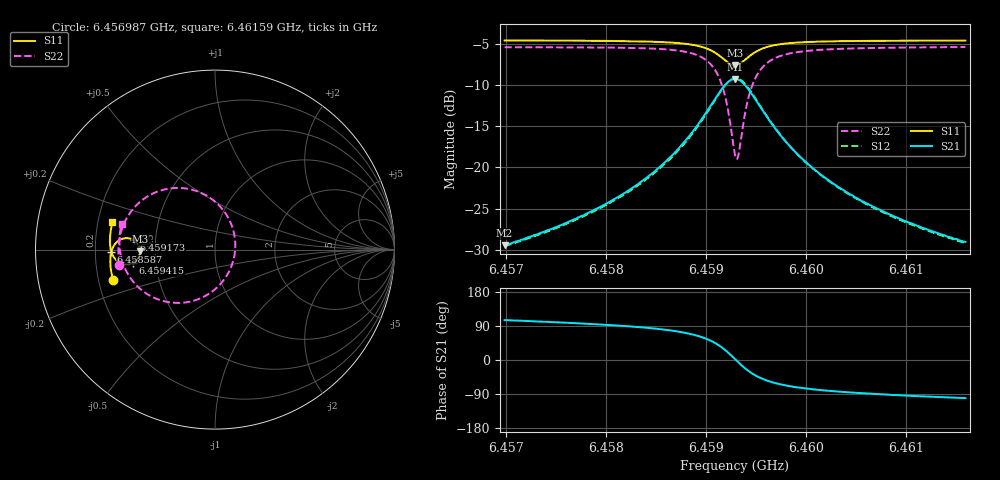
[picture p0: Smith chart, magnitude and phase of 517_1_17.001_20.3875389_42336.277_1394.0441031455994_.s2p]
#  HZ  S  RI  R  50.00
! Rohde & Schwarz Vector Network Analyzer
! Rohde-Schwarz,ZNB20-2Port,1311601062101988,3.16
! Created: UTC 3/20/2024, 11:15:14 PM
! freq[Hz]  re:S11  im:S11  re:S21  im:S21  re:S12  im:S12  re:S22  im:S22
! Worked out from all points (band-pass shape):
!   401 points, 6.456987 GHz to 6.46159 GHz, reference 50 ohm
!   highest |S21| = -9.23 dB at 6.459288 GHz (marker M1); lowest = -29.5 dB at 6.456987 GHz (marker M2)
!   |S21| within 3 dB of the highest: 6.459058 GHz to 6.459519 GHz (460.3 kHz wide, 0.00713 % of centre)
!   lowest |S11| = -7.6 dB at 6.459288 GHz (marker M3), VSWR 2.44, Z = 20.5 - j0.474 ohm
!   |S11| at or under -10 dB: nowhere
!   |S22| runs from -19.0 to -5.3 dB; largest |S21 - S12| = 0.014
!   S11 on the Smith chart (normalised r, x): 6.456987 GHz: 0.26, -0.14; 6.458587 GHz: 0.27, -0.01; 6.459173 GHz: 0.37, +0.05; 6.459415 GHz: 0.37, -0.07; 6.46159 GHz: 0.26, +0.12
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6.4569871e9  -0.5669 -0.1715  -0.0088 0.0325  -0.0072 0.0324  -0.5325 -0.0839
6.4577581e9  -0.5809 -0.1041  -0.00556 0.0503  -0.00308 0.0498  -0.5379 0.00616
6.4581953e9  -0.5837 -0.0601  0.000734 0.0706  0.00401 0.0691  -0.5291 0.0757
6.458529e9  -0.5797 -0.0202  0.0143 0.0987  0.0183 0.0959  -0.504 0.1514
6.4585865e9  -0.578 -0.0122  0.0186 0.1056  0.0227 0.1024  -0.4959 0.168
6.4587936e9  -0.565 0.0199  0.0462 0.1379  0.0503 0.1329  -0.4442 0.2407
6.4589432e9  -0.5424 0.0461  0.0915 0.1684  0.0946 0.1617  -0.3607 0.3051
6.4590813e9  -0.4986 0.0638  0.1785 0.1849  0.1795 0.1776  -0.2013 0.3439
6.4591733e9  -0.454 0.0534  0.2684 0.1537  0.2687 0.1478  -0.0348 0.2932
6.4592424e9  -0.425 0.0215  0.3289 0.0818  0.331 0.0766  0.0807 0.1639
6.4592884e9  -0.4182 -0.00953  0.3453 0.0139  0.349 0.00697  0.1131 0.0368
6.4592999e9  -0.4186 -0.0176  0.3451 -0.00377  0.349 -0.0115  0.1127 0.00334
6.4593229e9  -0.4222 -0.0331  0.3396 -0.0386  0.3434 -0.0476  0.1015 -0.0626
6.4593689e9  -0.4377 -0.0591  0.3109 -0.0985  0.3132 -0.1104  0.0437 -0.1761
6.4594149e9  -0.4596 -0.0755  0.2689 -0.1397  0.268 -0.1529  -0.0413 -0.251
6.459507e9  -0.5031 -0.0823  0.184 -0.1707  0.1779 -0.1822  -0.2108 -0.2971
6.4596566e9  -0.5469 -0.0618  0.0961 -0.1567  0.0876 -0.163  -0.3785 -0.2474
6.4598177e9  -0.5684 -0.0341  0.0512 -0.1289  0.0435 -0.1315  -0.4589 -0.175
6.4600593e9  -0.581 0.00157  0.0221 -0.0972  0.0163 -0.0978  -0.5068 -0.0925
6.4604045e9  -0.5855 0.0426  0.00619 -0.0704  0.00207 -0.0699  -0.5281 -0.0134
6.4608302e9  -0.5836 0.0853  -0.00158 -0.0519  -0.0044 -0.051  -0.5322 0.0549
6.4615896e9  -0.5712 0.1525  -0.00645 -0.0346  -0.00826 -0.0335  -0.5208 0.1446
